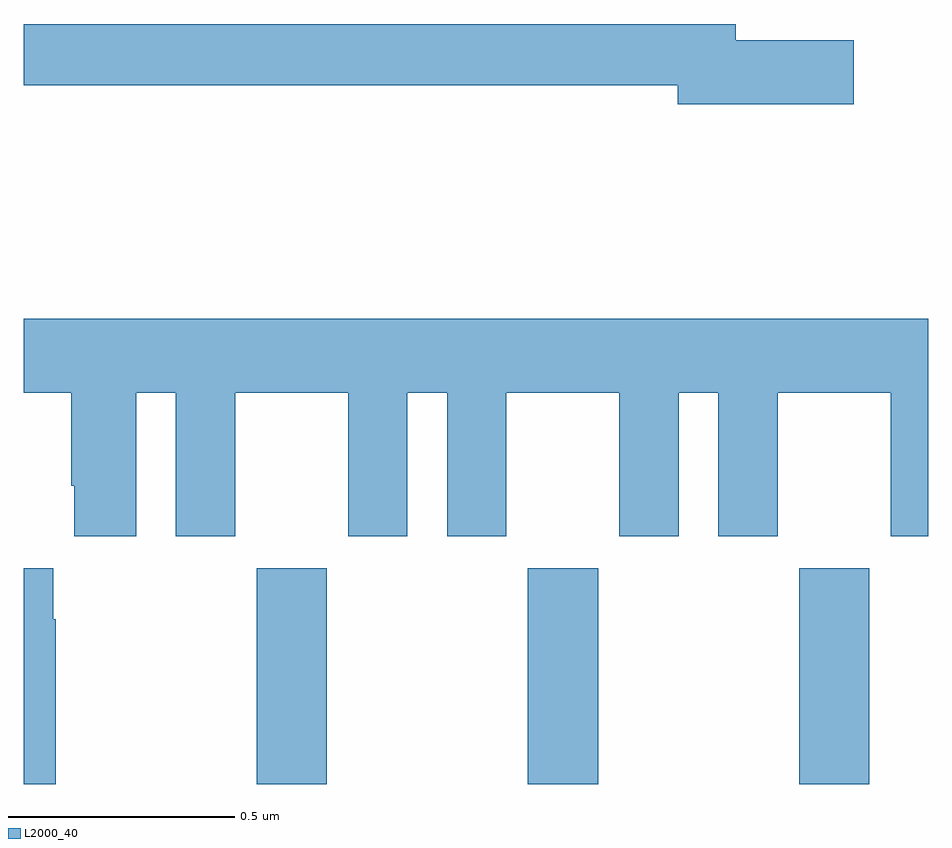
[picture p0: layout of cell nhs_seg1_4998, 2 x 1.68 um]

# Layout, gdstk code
import gdstk
lib = gdstk.Library(unit=1e-6, precision=1e-09)
def R(c, l, rs):  # rectangles x0, y0, x1, y1
    for r in rs: c.add(gdstk.rectangle(r[:2], r[2:], *l))
def A(c, l, x, y, w, h, nx, ny, dx, dy):  # array of equal rectangles
    R(c, l, [(x+i*dx, y+j*dy, x+i*dx+w, y+j*dy+h) for i in range(nx) for j in range(ny)])
def P(c, l, *ps):  # polygons
    for p in ps: c.add(gdstk.Polygon(p, *l))
L2000_40 = (2000, 40)

nhs_seg1_4998 = lib.new_cell('nhs_seg1_4998')
A(nhs_seg1_4998, L2000_40, 173.515, 552.199, 0.155, 0.477, 3, 1, 0.6, 0)
P(nhs_seg1_4998, L2000_40, [(174.835,553.844),(174.574,553.844),(174.574,553.88),(173,553.88),(173,553.744),(174.446,553.744),(174.446,553.702),(174.835,553.702)],
  [(173,553.064),(173.105,553.064),(173.105,552.859),(173.111,552.859),(173.111,552.747),(173.248,552.747),(173.248,553.064),(173.336,553.064),(173.336,552.747),(173.467,552.747),(173.467,553.064),(173.717,553.064),(173.717,552.747),(173.848,552.747),(173.848,553.064),(173.936,553.064),(173.936,552.747),(174.067,552.747),(174.067,553.064),(174.317,553.064),(174.317,552.747),(174.448,552.747),(174.448,553.064),(174.536,553.064),(174.536,552.747),(174.667,552.747),(174.667,553.064),(174.917,553.064),(174.917,552.747),(175,552.747),(175,553.228),(173,553.228)],
  [(173.07,552.563),(173.065,552.563),(173.065,552.676),(173,552.676),(173,552.199),(173.07,552.199)])

lib.write_gds('nhs_seg1_4998.gds')
